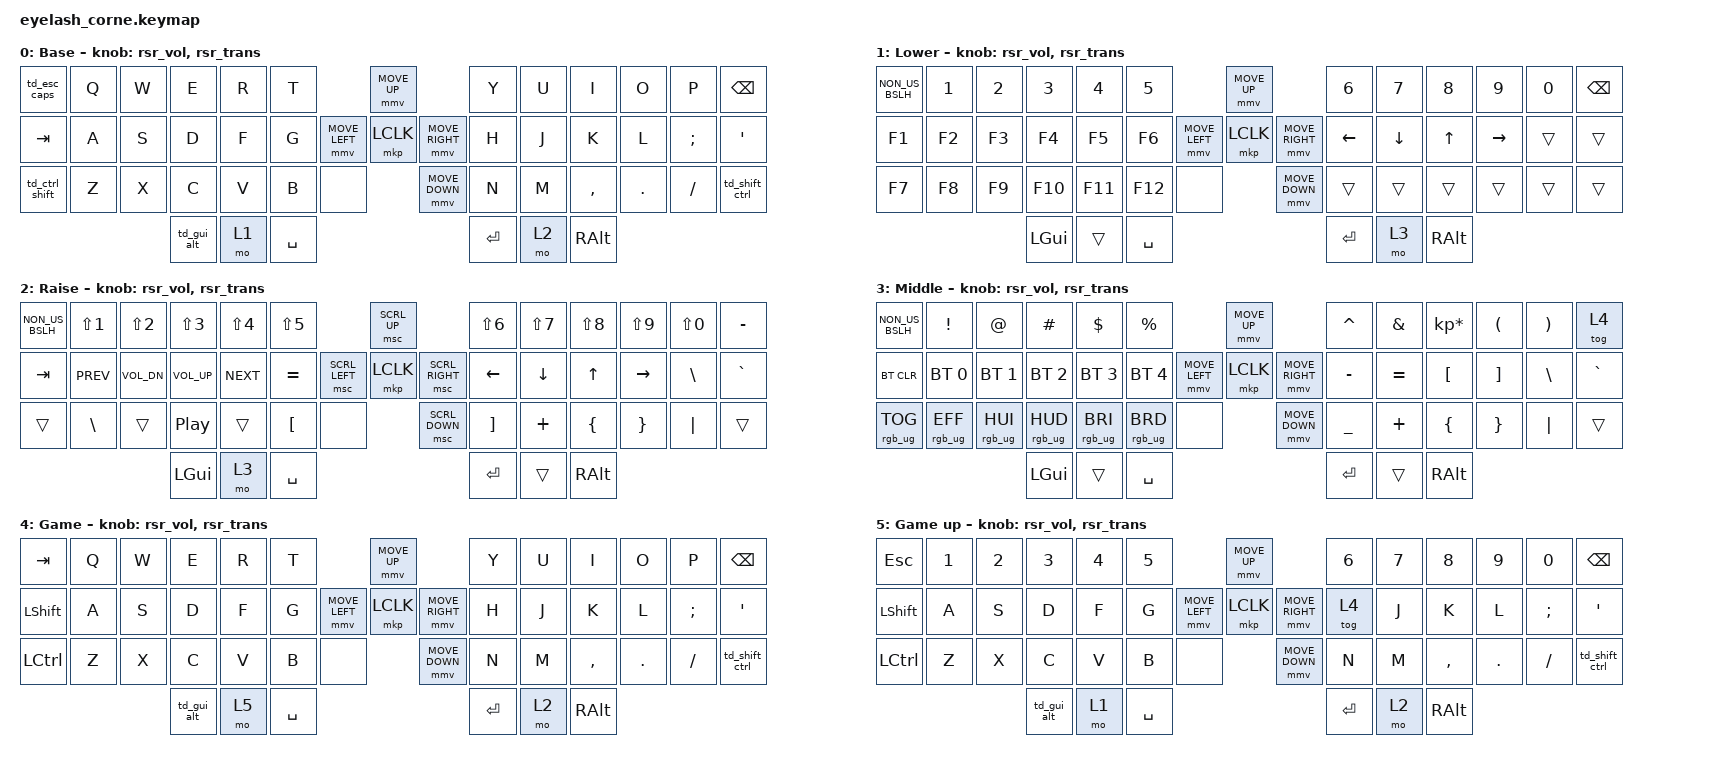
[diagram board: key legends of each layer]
#define ZMK_POINTING_DEFAULT_MOVE_VAL 1200  // 600
#define ZMK_POINTING_DEFAULT_SCRL_VAL 25   // 10

#include <input/processors.dtsi>
#include <zephyr/dt-bindings/input/input-event-codes.h>
#include <behaviors.dtsi>
#include <behaviors/runtime-sensor-rotate.dtsi>
#include <dt-bindings/zmk/bt.h>
#include <dt-bindings/zmk/keys.h>
#include <dt-bindings/zmk/outputs.h>
#include <dt-bindings/zmk/pointing.h>
#include <dt-bindings/zmk/rgb.h>

&soft_off { hold-time-ms = <2000>; };

/ {
    behaviors {
        td_esc_caps: tap_dance_esccaps {
            compatible = "zmk,behavior-tap-dance";
            display-name = "Esc/Caps Lock Tap Dance";
            #binding-cells = <0>;
            tapping-term-ms = <200>;
            bindings = <&kp ESC>, <&kp CAPSLOCK>;
        };

        td_ctrl_shift: tap_dance_ctrlshift {
            compatible = "zmk,behavior-tap-dance";
            display-name = "Ctrl/Shift Tap Dance";
            #binding-cells = <0>;
            tapping-term-ms = <200>;
            bindings = <&kp LCTRL>, <&kp LSHIFT>;
        };

        td_shift_ctrl: tap_dance_shiftctrl {
            compatible = "zmk,behavior-tap-dance";
            display-name = "Shift/Ctrl Tap Dance";
            #binding-cells = <0>;
            tapping-term-ms = <200>;
            bindings = <&kp RSHIFT>, <&kp RCTRL>;
        };

        td_gui_alt: tap_dance_guialt {
            compatible = "zmk,behavior-tap-dance";
            display-name = "GUI/Alt Tap Dance";
            #binding-cells = <0>;
            tapping-term-ms = <200>;
            bindings = <&kp LGUI>, <&kp LALT>;
        };

        // Vendor encoder plumbing, unused (no encoder fitted)
        rsr_vol: rsr_vol {
            compatible = "zmk,behavior-runtime-sensor-rotate";
            #sensor-binding-cells = <0>;
            tap-ms = <5>;
            cw-binding = <&kp C_VOL_UP>;
            ccw-binding = <&kp C_VOL_DN>;
        };

        rsr_trans: rsr_trans {
            compatible = "zmk,behavior-runtime-sensor-rotate";
            #sensor-binding-cells = <0>;
            tap-ms = <0>;
        };
    };

    combos {
        compatible = "zmk,combos";

        softoff {
            bindings = <&soft_off>;
            key-positions = <1 15 29>;
        };
    };

    // Joystick (5-way) on every layer: mouse move, press = left click.
    // Position 34 (extra left key) not fitted: &none.

    keymap {
        compatible = "zmk,keymap";

        default_layer {
            display-name = "Base";
            bindings = <
&td_esc_caps    &kp Q  &kp W  &kp E        &kp R  &kp T                                &mmv MOVE_UP                     &kp Y    &kp U  &kp I      &kp O    &kp P     &kp BSPC
&kp TAB         &kp A  &kp S  &kp D        &kp F  &kp G                &mmv MOVE_LEFT  &mkp LCLK       &mmv MOVE_RIGHT  &kp H    &kp J  &kp K      &kp L    &kp SEMI  &kp SQT
&td_ctrl_shift  &kp Z  &kp X  &kp C        &kp V  &kp B      &none                     &mmv MOVE_DOWN                   &kp N    &kp M  &kp COMMA  &kp DOT  &kp FSLH  &td_shift_ctrl
                              &td_gui_alt  &mo 1  &kp SPACE                                                             &kp RET  &mo 2  &kp RALT
            >;

            sensor-bindings = <&rsr_vol &rsr_trans>;
        };

        lower_layer {
            display-name = "Lower";
            bindings = <
&kp NON_US_BSLH  &kp N1  &kp N2  &kp N3    &kp N4   &kp N5                                &mmv MOVE_UP                     &kp N6    &kp N7    &kp N8  &kp N9     &kp N0  &kp BSPC
&kp F1           &kp F2  &kp F3  &kp F4    &kp F5   &kp F6                &mmv MOVE_LEFT  &mkp LCLK       &mmv MOVE_RIGHT  &kp LEFT  &kp DOWN  &kp UP  &kp RIGHT  &trans  &trans
&kp F7           &kp F8  &kp F9  &kp F10   &kp F11  &kp F12    &none                      &mmv MOVE_DOWN                   &trans    &trans    &trans  &trans     &trans  &trans
                                 &kp LGUI  &trans   &kp SPACE                                                              &kp RET   &mo 3     &kp RALT
            >;

            sensor-bindings = <&rsr_vol &rsr_trans>;
        };

        raise_layer {
            display-name = "Raise";
            bindings = <
&kp NON_US_BSLH  &kp LS(N1)  &kp LS(N2)    &kp LS(N3)    &kp LS(N4)  &kp LS(N5)                                &msc SCRL_UP                     &kp LS(N6)  &kp LS(N7)  &kp LS(N8)  &kp LS(N9)  &kp LS(N0)  &kp MINUS
&kp TAB          &kp C_PREV  &kp C_VOL_DN  &kp C_VOL_UP  &kp C_NEXT  &kp EQUAL                 &msc SCRL_LEFT  &mkp LCLK       &msc SCRL_RIGHT  &kp LEFT    &kp DOWN    &kp UP      &kp RIGHT   &kp BSLH    &kp GRAVE
&trans           &kp BSLH    &trans        &kp C_PP      &trans      &kp LBKT    &none                         &msc SCRL_DOWN                   &kp RBKT    &kp PLUS    &kp LBRC    &kp RBRC    &kp PIPE    &trans
                                           &kp LGUI      &mo 3       &kp SPACE                                                                  &kp RET     &trans      &kp RALT
            >;

            sensor-bindings = <&rsr_vol &rsr_trans>;
        };

        middle_layer {
            display-name = "Middle";
            bindings = <
&kp NON_US_BSLH  &kp EXCL         &kp AT           &kp HASH         &kp DLLR         &kp PRCNT                                    &mmv MOVE_UP                     &kp CARET  &kp AMPS   &kp KP_MULTIPLY  &kp LPAR  &kp RPAR  &tog 4
&bt BT_CLR       &bt BT_SEL 0     &bt BT_SEL 1     &bt BT_SEL 2     &bt BT_SEL 3     &bt BT_SEL 4                 &mmv MOVE_LEFT  &mkp LCLK       &mmv MOVE_RIGHT  &kp MINUS  &kp EQUAL  &kp LBKT         &kp RBKT  &kp BSLH  &kp GRAVE
&rgb_ug RGB_TOG  &rgb_ug RGB_EFF  &rgb_ug RGB_HUI  &rgb_ug RGB_HUD  &rgb_ug RGB_BRI  &rgb_ug RGB_BRD  &none                       &mmv MOVE_DOWN                   &kp UNDER  &kp PLUS   &kp LBRC         &kp RBRC  &kp PIPE  &trans
                                                   &kp LGUI         &trans           &kp SPACE                                                                     &kp RET    &trans     &kp RALT
            >;

            sensor-bindings = <&rsr_vol &rsr_trans>;
        };

        game_layer {
            display-name = "Game";
            bindings = <
&kp TAB     &kp Q  &kp W  &kp E        &kp R  &kp T                                &mmv MOVE_UP                     &kp Y    &kp U  &kp I      &kp O    &kp P     &kp BSPC
&kp LSHIFT  &kp A  &kp S  &kp D        &kp F  &kp G                &mmv MOVE_LEFT  &mkp LCLK       &mmv MOVE_RIGHT  &kp H    &kp J  &kp K      &kp L    &kp SEMI  &kp SQT
&kp LCTRL   &kp Z  &kp X  &kp C        &kp V  &kp B      &none                     &mmv MOVE_DOWN                   &kp N    &kp M  &kp COMMA  &kp DOT  &kp FSLH  &td_shift_ctrl
                          &td_gui_alt  &mo 5  &kp SPACE                                                             &kp RET  &mo 2  &kp RALT
            >;

            sensor-bindings = <&rsr_vol &rsr_trans>;
        };

        game_up_layer {
            display-name = "Game up";
            bindings = <
&kp ESC     &kp N1  &kp N2  &kp N3       &kp N4  &kp N5                                &mmv MOVE_UP                     &kp N6   &kp N7  &kp N8     &kp N9   &kp N0    &kp BSPC
&kp LSHIFT  &kp A   &kp S   &kp D        &kp F   &kp G                &mmv MOVE_LEFT  &mkp LCLK       &mmv MOVE_RIGHT  &tog 4   &kp J   &kp K      &kp L    &kp SEMI  &kp SQT
&kp LCTRL   &kp Z   &kp X   &kp C        &kp V   &kp B      &none                     &mmv MOVE_DOWN                   &kp N    &kp M   &kp COMMA  &kp DOT  &kp FSLH  &td_shift_ctrl
                            &td_gui_alt  &mo 1   &kp SPACE                                                             &kp RET  &mo 2   &kp RALT
            >;

            sensor-bindings = <&rsr_vol &rsr_trans>;
        };
    };
};
